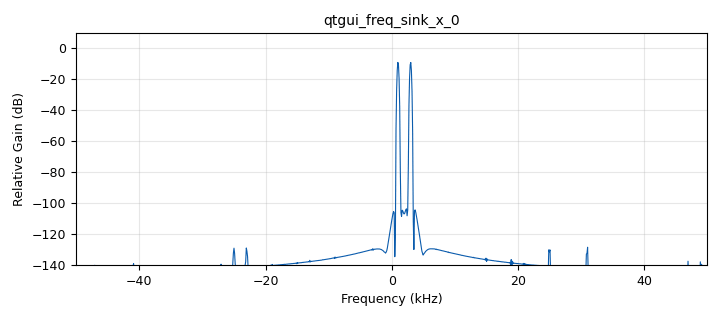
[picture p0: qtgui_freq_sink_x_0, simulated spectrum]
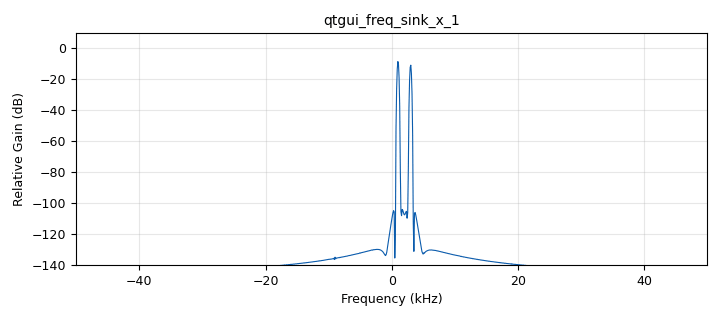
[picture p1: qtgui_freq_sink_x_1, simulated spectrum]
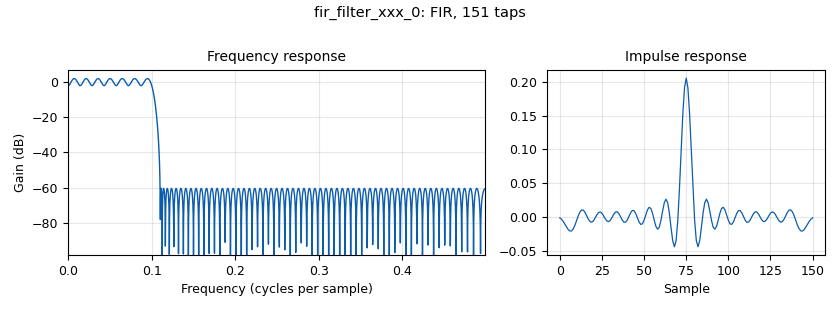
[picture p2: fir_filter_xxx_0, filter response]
options:
  parameters:
    author: gnuradio
    generate_options: qt_gui
    id: Q2_SymmetricFilter
    output_language: python
    title: Not titled yet
  states: {}

blocks:
- name: freq
  id: variable_qtgui_range
  parameters:
    orient: Qt.Horizontal
    rangeType: int
    start: '100'
    step: '1'
    stop: '45000'
    value: '1000'
  states: {}
- name: samp_rate
  id: variable
  parameters:
    value: '100000'
  states: {}
- name: analog_sig_source_x_0
  id: analog_sig_source_x
  parameters:
    amp: '1'
    freq: '3000'
    offset: '0'
    phase: '0'
    samp_rate: samp_rate
    type: complex
    waveform: analog.GR_COS_WAVE
  states: {}
- name: analog_sig_source_x_0_0
  id: analog_sig_source_x
  parameters:
    amp: '1'
    freq: freq
    offset: '0'
    phase: '0'
    samp_rate: samp_rate
    type: complex
    waveform: analog.GR_COS_WAVE
  states: {}
- name: blocks_add_xx_0
  id: blocks_add_xx
  parameters:
    type: complex
  states: {}
- name: fir_filter_xxx_0
  id: fir_filter_xxx
  parameters:
    decim: '1'
    taps: |-
      [-0.0015378551171919956,
        -0.0036169243489982293,
        -0.006748742321528003,
        -0.010906081231633662,
        -0.015178675687417606,
        -0.019001555561821655,
        -0.021094223927105183,
        -0.020920946878619732,
        -0.017846463303214034,
        -0.012408129646969888,
        -0.005321962391063169,
        0.0017294133137703796,
        0.007385986434935577,
        0.010181890576497626,
        0.00977550946915171,
        0.006355454003758791,
        0.0013178354088262197,
        -0.003807601342618333,
        -0.007203231207662593,
        -0.007951426596388145,
        -0.005773130261492311,
        -0.0016628775143052367,
        0.0029664966409126137,
        0.006297705666126402,
        0.007222525912894878,
        0.005313957332138701,
        0.0014081202035631595,
        -0.0030889640144080395,
        -0.006347353367205971,
        -0.007163844370696551,
        -0.005098049958021663,
        -0.000987566361578864,
        0.003652959128251185,
        0.006910589688211936,
        0.007498297102236525,
        0.005020655159555711,
        0.0004238707399804675,
        -0.00457056845660577,
        -0.007889018867984413,
        -0.00814712491782695,
        -0.005030185723282037,
        0.00031798162733566964,
        0.005872521898648018,
        0.009313355215631335,
        0.009130816873638776,
        0.005121461763265859,
        -0.0012791836921332814,
        -0.007626449293547126,
        -0.011245405555546295,
        -0.01045330778864952,
        -0.005188942218297725,
        0.0027009691077869123,
        0.010184936563278265,
        0.014066760015359872,
        0.01239918190113474,
        0.005290491532107697,
        -0.004830506411492512,
        -0.014070991530389534,
        -0.018409581464890783,
        -0.015424046175945158,
        -0.005377537776839959,
        0.008457215620944926,
        0.020806696077435124,
        0.026152806271048774,
        0.020989894263772676,
        0.005454873465528794,
        -0.016011293602898748,
        -0.03564558458876424,
        -0.04449982606187409,
        -0.03539966981873462,
        -0.005504556798601656,
        0.04215578684540187,
        0.09901739532559181,
        0.1529426556176642,
        0.19152941766959264,
        0.2055218338235745,
        0.19152941766959264,
        0.1529426556176642,
        0.09901739532559181,
        0.04215578684540187,
        -0.005504556798601656,
        -0.03539966981873462,
        -0.04449982606187409,
        -0.03564558458876424,
        -0.016011293602898748,
        0.005454873465528794,
        0.020989894263772676,
        0.026152806271048774,
        0.020806696077435124,
        0.008457215620944926,
        -0.005377537776839959,
        -0.015424046175945158,
        -0.018409581464890783,
        -0.014070991530389534,
        -0.004830506411492512,
        0.005290491532107697,
        0.01239918190113474,
        0.014066760015359872,
        0.010184936563278265,
        0.0027009691077869123,
        -0.005188942218297725,
        -0.01045330778864952,
        -0.011245405555546295,
        -0.007626449293547126,
        -0.0012791836921332814,
        0.005121461763265859,
        0.009130816873638776,
        0.009313355215631335,
        0.005872521898648018,
        0.00031798162733566964,
        -0.005030185723282037,
        -0.00814712491782695,
        -0.007889018867984413,
        -0.00457056845660577,
        0.0004238707399804675,
        0.005020655159555711,
        0.007498297102236525,
        0.006910589688211936,
        0.003652959128251185,
        -0.000987566361578864,
        -0.005098049958021663,
        -0.007163844370696551,
        -0.006347353367205971,
        -0.0030889640144080395,
        0.0014081202035631595,
        0.005313957332138701,
        0.007222525912894878,
        0.006297705666126402,
        0.0029664966409126137,
        -0.0016628775143052367,
        -0.005773130261492311,
        -0.007951426596388145,
        -0.007203231207662593,
        -0.003807601342618333,
        0.0013178354088262197,
        0.006355454003758791,
        0.00977550946915171,
        0.010181890576497626,
        0.007385986434935577,
        0.0017294133137703796,
        -0.005321962391063169,
        -0.012408129646969888,
        -0.017846463303214034,
        -0.020920946878619732,
        -0.021094223927105183,
        -0.019001555561821655,
        -0.015178675687417606,
        -0.010906081231633662,
        -0.006748742321528003,
        -0.0036169243489982293,
        -0.0015378551171919956]
    type: ccc
  states: {}
- name: qtgui_freq_sink_x_0
  id: qtgui_freq_sink_x
  parameters:
    bw: samp_rate
    fc: '0'
    fftsize: '1024'
    type: complex
    wintype: firdes.WIN_BLACKMAN_hARRIS
  states: {}
- name: qtgui_freq_sink_x_1
  id: qtgui_freq_sink_x
  parameters:
    bw: samp_rate
    fc: '0'
    fftsize: '1024'
    type: complex
    wintype: firdes.WIN_BLACKMAN_hARRIS
  states: {}

connections:
- [analog_sig_source_x_0, '0', blocks_add_xx_0, '0']
- [analog_sig_source_x_0_0, '0', blocks_add_xx_0, '1']
- [blocks_add_xx_0, '0', fir_filter_xxx_0, '0']
- [blocks_add_xx_0, '0', qtgui_freq_sink_x_0, '0']
- [fir_filter_xxx_0, '0', qtgui_freq_sink_x_1, '0']

metadata:
  file_format: 1
